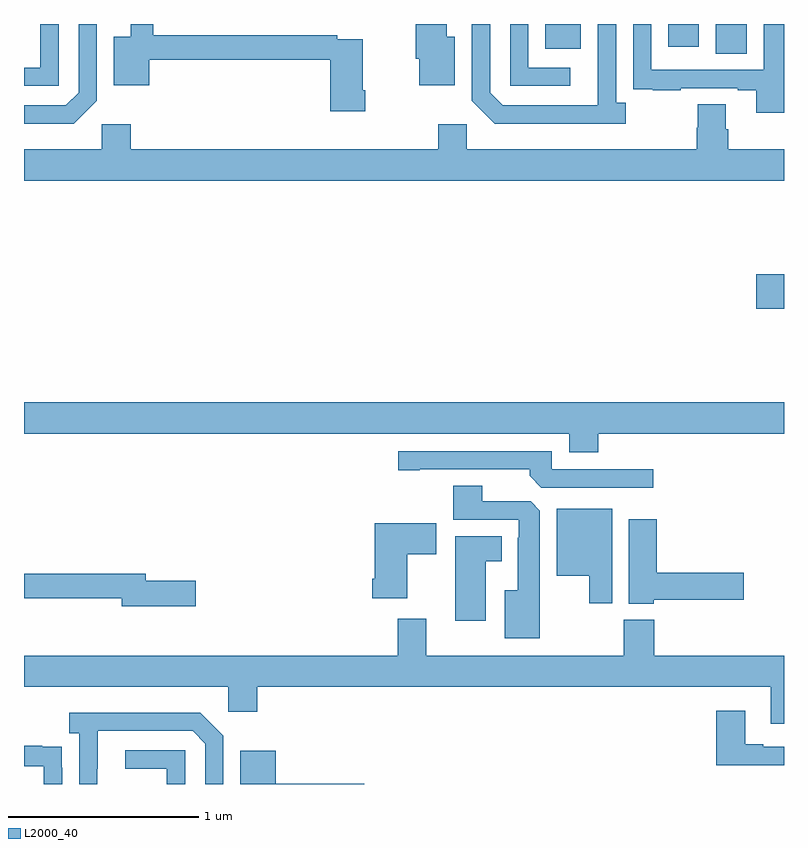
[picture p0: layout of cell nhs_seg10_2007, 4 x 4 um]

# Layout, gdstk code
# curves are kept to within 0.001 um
import gdstk
lib = gdstk.Library(unit=1e-6, precision=1e-09)
def R(c, l, rs):  # rectangles x0, y0, x1, y1
    for r in rs: c.add(gdstk.rectangle(r[:2], r[2:], *l))
def P(c, l, *ps):  # polygons
    for p in ps: c.add(gdstk.Polygon(p, *l))
L2000_40 = (2000, 40)

nhs_seg10_2007 = lib.new_cell('nhs_seg10_2007')
R(nhs_seg10_2007, L2000_40, [(220.854,1273.001,221,1273.184), (220.64,1274.344,220.804,1274.5), (219.743,1274.369,219.931,1274.5), (220.391,1274.379,220.552,1274.5)])
P(nhs_seg10_2007, L2000_40, [(220.168,1274.086),(220.116,1274.086),(220.116,1274.5),(220.02,1274.5),(220.019,1274.073),(219.519,1274.073),(219.453,1274.139),(219.453,1274.5),(219.357,1274.5),(219.357,1274.097),(219.478,1273.976),(220.168,1273.976)],
  [(217.383,1274.097),(217.383,1274.5),(217.287,1274.5),(217.287,1274.139),(217.221,1274.073),(217,1274.073),(217,1273.976),(217.262,1273.976)],
  [(221,1274.5),(220.893,1274.5),(220.893,1274.259),(220.302,1274.259),(220.302,1274.5),(220.206,1274.5),(220.206,1274.266),(220.207,1274.266),(220.207,1274.157),(220.309,1274.157),(220.309,1274.151),(220.457,1274.151),(220.457,1274.163),(220.757,1274.163),(220.757,1274.151),(220.853,1274.151),(220.853,1274.034),(221,1274.034)],
  [(218.795,1274.152),(218.782,1274.152),(218.782,1274.421),(218.648,1274.421),(218.648,1274.441),(217.679,1274.441),(217.679,1274.5),(217.562,1274.5),(217.562,1274.434),(217.472,1274.434),(217.472,1274.177),(217.66,1274.177),(217.66,1274.313),(218.612,1274.313),(218.612,1274.04),(218.795,1274.04)],
  [(217.182,1274.5),(217.086,1274.5),(217.086,1274.271),(217,1274.271),(217,1274.175),(217.182,1274.175)],
  [(219.874,1274.271),(219.654,1274.271),(219.654,1274.5),(219.558,1274.5),(219.558,1274.175),(219.874,1274.175)],
  [(219.268,1274.434),(219.226,1274.434),(219.226,1274.5),(219.061,1274.5),(219.061,1274.316),(219.08,1274.316),(219.08,1274.177),(219.268,1274.177)],
  [(221,1273.84),(220.706,1273.84),(220.706,1273.946),(220.693,1273.946),(220.693,1274.078),(220.546,1274.078),(220.546,1273.953),(220.541,1273.953),(220.541,1273.84),(219.33,1273.84),(219.33,1273.972),(219.179,1273.972),(219.179,1273.84),(217.562,1273.84),(217.562,1273.972),(217.41,1273.972),(217.41,1273.84),(217,1273.84),(217,1273.676),(221,1273.676)],
  [(220.022,1272.344),(221,1272.344),(221,1272.508),(217,1272.508),(217,1272.344),(219.869,1272.344),(219.869,1272.245),(220.022,1272.245)],
  [(220.312,1272.156),(219.777,1272.156),(219.777,1272.252),(218.97,1272.252),(218.97,1272.151),(219.082,1272.151),(219.082,1272.156),(219.662,1272.156),(219.662,1272.122),(219.723,1272.06),(220.312,1272.06)],
  [(219.715,1271.939),(219.666,1271.988),(219.412,1271.988),(219.412,1272.071),(219.26,1272.071),(219.26,1271.892),(219.603,1271.892),(219.603,1271.795),(219.599,1271.795),(219.599,1271.521),(219.53,1271.521),(219.53,1271.267),(219.715,1271.267)],
  [(220.096,1271.95),(219.803,1271.95),(219.803,1271.597),(219.974,1271.597),(219.974,1271.451),(220.096,1271.451)],
  [(220.314,1271.47),(220.789,1271.47),(220.789,1271.612),(220.331,1271.612),(220.331,1271.893),(220.184,1271.893),(220.184,1271.45),(220.314,1271.45)],
  [(219.016,1271.71),(219.169,1271.71),(219.169,1271.872),(218.846,1271.872),(218.846,1271.581),(218.834,1271.581),(218.834,1271.477),(219.016,1271.477)],
  [(219.43,1271.672),(219.514,1271.672),(219.514,1271.803),(219.269,1271.803),(219.269,1271.358),(219.43,1271.358)],
  [(217.903,1271.57),(217.642,1271.57),(217.642,1271.606),(217,1271.606),(217,1271.478),(217.514,1271.478),(217.514,1271.435),(217.903,1271.435)],
  [(221,1271.176),(220.316,1271.176),(220.316,1271.365),(220.156,1271.365),(220.156,1271.176),(219.118,1271.176),(219.118,1271.371),(218.966,1271.371),(218.966,1271.176),(217,1271.176),(217,1271.012),(218.076,1271.012),(218.076,1270.881),(218.228,1270.881),(218.228,1271.012),(220.931,1271.012),(220.931,1270.818),(221,1270.818)],
  [(221,1270.695),(220.891,1270.695),(220.891,1270.708),(220.795,1270.708),(220.795,1270.885),(220.643,1270.885),(220.643,1270.598),(221,1270.598)],
  [(217.386,1270.579),(217.387,1270.779),(217.887,1270.779),(217.953,1270.713),(217.953,1270.5),(218.049,1270.5),(218.049,1270.755),(217.928,1270.876),(217.239,1270.876),(217.239,1270.766),(217.29,1270.766),(217.29,1270.5),(217.386,1270.5)],
  [(217.2,1270.586),(217.199,1270.586),(217.199,1270.695),(217.097,1270.695),(217.097,1270.702),(217,1270.702),(217,1270.593),(217.104,1270.593),(217.104,1270.5),(217.2,1270.5)],
  [(217.848,1270.677),(217.533,1270.677),(217.533,1270.581),(217.752,1270.581),(217.752,1270.5),(217.848,1270.5)],
  [(218.791,1270.502),(218.326,1270.502),(218.326,1270.675),(218.138,1270.675),(218.138,1270.5),(218.791,1270.5)])

lib.write_gds('nhs_seg10_2007.gds')
